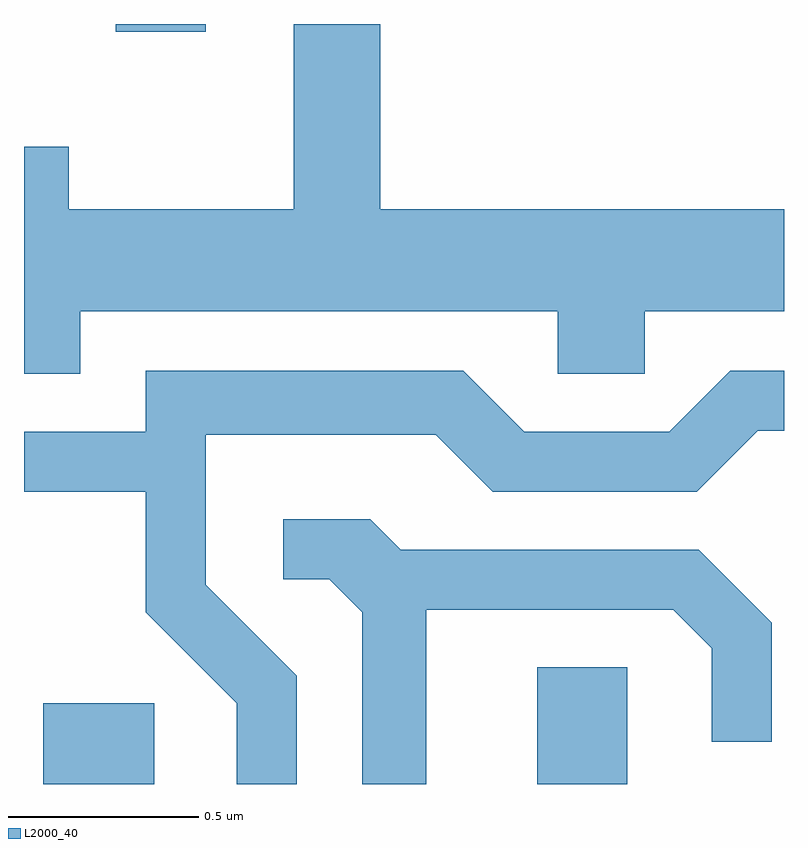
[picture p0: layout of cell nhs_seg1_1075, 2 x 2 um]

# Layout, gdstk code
import gdstk
lib = gdstk.Library(unit=1e-6, precision=1e-09)
def R(c, l, rs):  # rectangles x0, y0, x1, y1
    for r in rs: c.add(gdstk.rectangle(r[:2], r[2:], *l))
def P(c, l, *ps):  # polygons
    for p in ps: c.add(gdstk.Polygon(p, *l))
L2000_40 = (2000, 40)

nhs_seg1_1075 = lib.new_cell('nhs_seg1_1075')
R(nhs_seg1_1075, L2000_40, [(192.661,962.712,192.954,962.924), (193.961,962.712,194.199,963.019), (192.853,964.691,193.089,964.712)])
P(nhs_seg1_1075, L2000_40, [(192.759,963.956),(194.016,963.956),(194.016,963.791),(194.244,963.791),(194.244,963.956),(194.611,963.956),(194.611,964.224),(193.549,964.224),(193.549,964.712),(193.321,964.712),(193.321,964.224),(192.729,964.224),(192.729,964.389),(192.611,964.389),(192.611,963.791),(192.759,963.791)],
  [(193.329,962.997),(193.089,963.237),(193.089,963.631),(193.694,963.631),(193.844,963.481),(194.382,963.481),(194.542,963.641),(194.611,963.641),(194.611,963.799),(194.469,963.799),(194.309,963.639),(193.927,963.639),(193.767,963.799),(192.931,963.799),(192.931,963.639),(192.611,963.639),(192.611,963.481),(192.931,963.481),(192.931,963.164),(193.171,962.924),(193.171,962.712),(193.329,962.712)],
  [(193.669,963.171),(194.319,963.171),(194.421,963.069),(194.421,962.823),(194.579,962.823),(194.579,963.137),(194.387,963.329),(193.602,963.329),(193.522,963.409),(193.293,963.409),(193.293,963.251),(193.414,963.251),(193.501,963.164),(193.501,962.712),(193.669,962.712)])

lib.write_gds('nhs_seg1_1075.gds')
